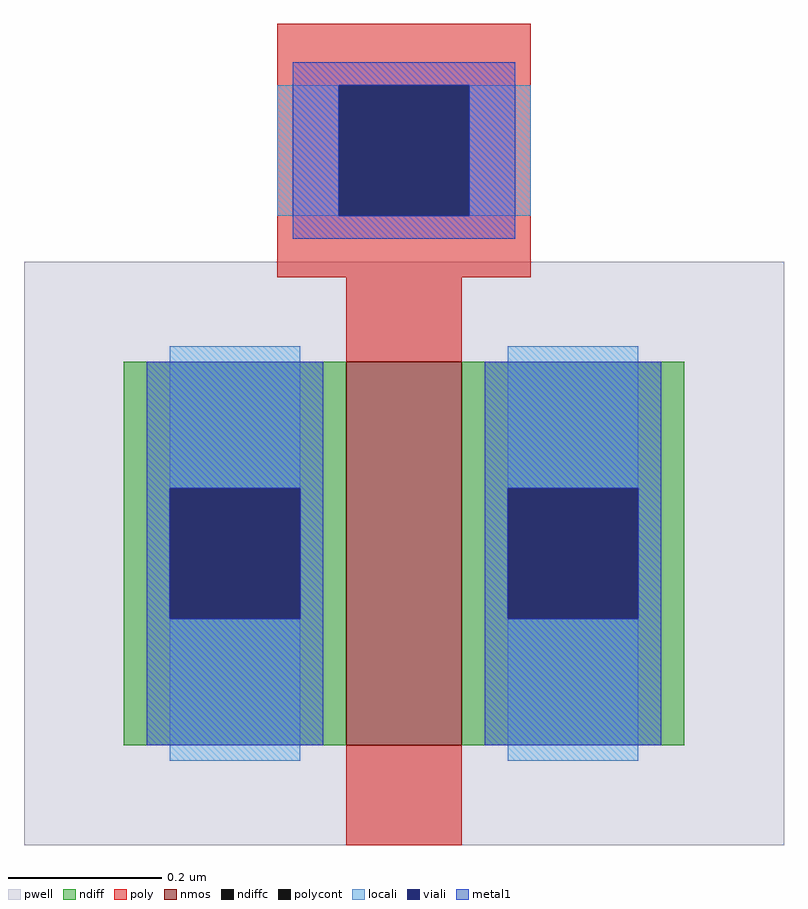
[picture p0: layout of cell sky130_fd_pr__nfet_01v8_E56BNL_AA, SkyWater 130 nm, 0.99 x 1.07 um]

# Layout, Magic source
magic
tech sky130A
magscale 1 2
<< pwell >>
rect -98 -116 100 36
<< nmos >>
rect -14 -90 16 10
<< ndiff >>
rect -72 -23 -14 10
rect -72 -57 -60 -23
rect -26 -57 -14 -23
rect -72 -90 -14 -57
rect 16 -23 74 10
rect 16 -57 28 -23
rect 62 -57 74 -23
rect 16 -90 74 -57
<< ndiffc >>
rect -60 -57 -26 -23
rect 28 -57 62 -23
<< poly >>
rect -32 82 34 98
rect -32 48 -16 82
rect 18 48 34 82
rect -32 32 34 48
rect -14 10 16 32
rect -14 -116 16 -90
<< polycont >>
rect -16 48 18 82
<< locali >>
rect -32 48 -16 82
rect 18 48 34 82
rect -60 -23 -26 14
rect -60 -94 -26 -57
rect 28 -23 62 14
rect 28 -94 62 -57
<< viali >>
rect -16 48 18 82
rect -60 -57 -26 -23
rect 28 -57 62 -23
<< metal1 >>
rect -28 82 30 88
rect -28 48 -16 82
rect 18 48 30 82
rect -28 42 30 48
rect -66 -23 -20 10
rect -66 -57 -60 -23
rect -26 -57 -20 -23
rect -66 -90 -20 -57
rect 22 -23 68 10
rect 22 -57 28 -23
rect 62 -57 68 -23
rect 22 -90 68 -57
<< end >>
